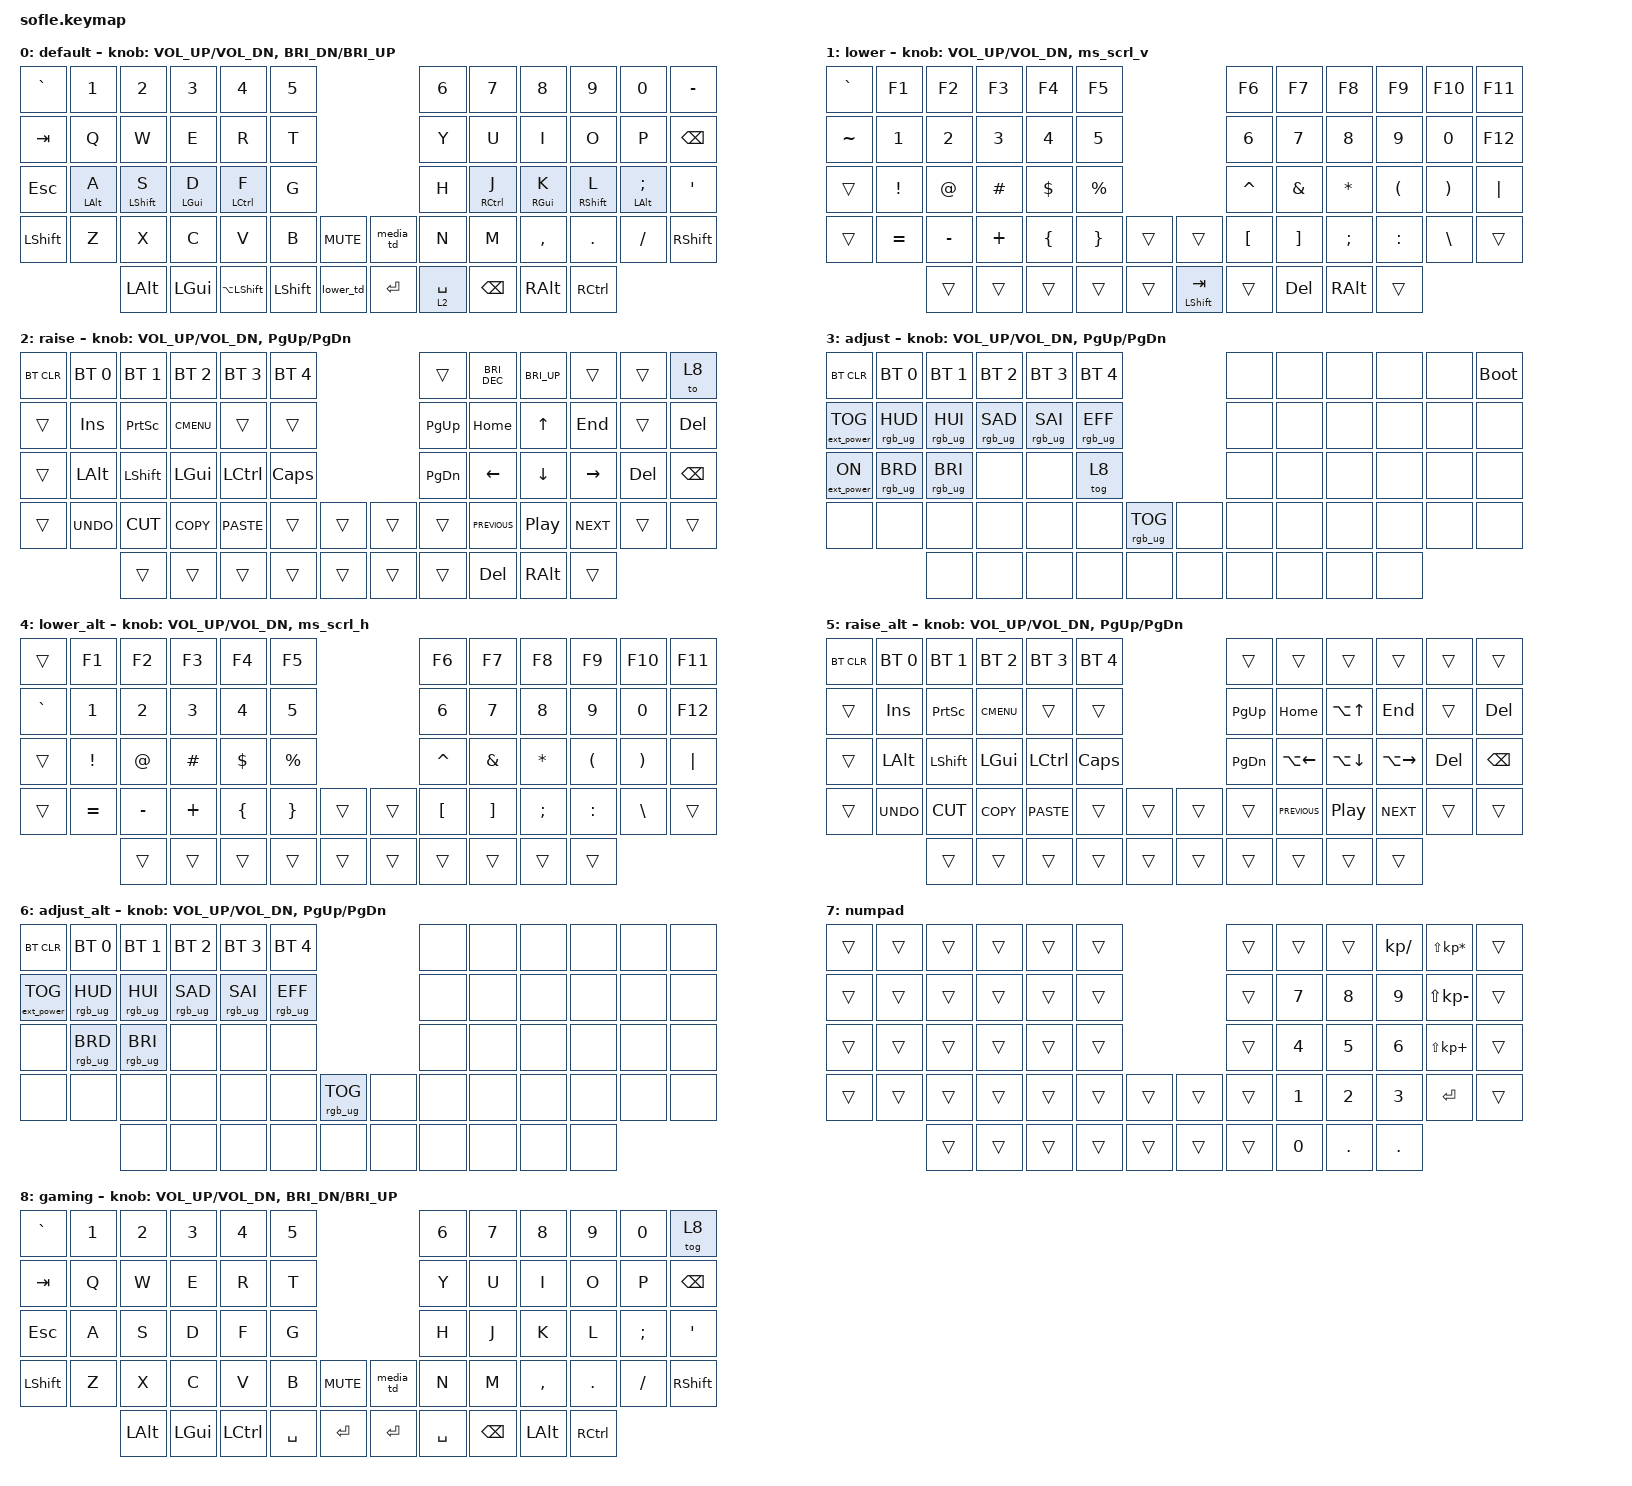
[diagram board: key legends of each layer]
/*
 * Copyright (c) 2020 The ZMK Contributors
 *
 * SPDX-License-Identifier: MIT
 */

#define ZMK_MOUSE_DEFAULT_SCRL_VAL 140

#include <behaviors.dtsi>
#include <dt-bindings/zmk/bt.h>
#include <dt-bindings/zmk/ext_power.h>
#include <dt-bindings/zmk/keys.h>
#include <dt-bindings/zmk/pointing.h>
#include <dt-bindings/zmk/rgb.h>

#define BASE 0
#define LOWER 1
#define RAISE 2
#define ADJUST 3

//&nice_view_spi { cs-gpios = <&pro_micro 4 GPIO_ACTIVE_HIGH>; };

/ {
    // Activate ADJUST layer by pressing raise and lower

    conditional_layers {
        compatible = "zmk,conditional-layers";

        adjust_layer {
            if-layers = <1 2>;
            then-layer = <3>;
        };

        adjust_layer_alt {
            if-layers = <4 5>;
            then-layer = <6>;
        };
    };

    behaviors {
        lower_td: lower_td {
            compatible = "zmk,behavior-tap-dance";
            label = "LOWER_TD";
            #binding-cells = <0>;
            bindings = <&mo 1>, <&mo 4>;

            tapping-term-ms = <500>;
        };

        mt_balanced: mt_balanced {
            compatible = "zmk,behavior-hold-tap";
            label = "MT_BALANCED";
            bindings = <&kp>, <&kp>;

            #binding-cells = <2>;
            tapping-term-ms = <200>;
            flavor = "balanced";
            hold-while-undecided;
        };

        raise_td: raise_td {
            compatible = "zmk,behavior-tap-dance";
            label = "RAISE_TD";
            #binding-cells = <0>;
            bindings = <&lt_space 2 SPACE>, <&mo 5>, <&mo 7>;

            tapping-term-ms = <500>;
        };

        media_td: media_td {
            compatible = "zmk,behavior-tap-dance";
            label = "MEDIA_TD";
            #binding-cells = <0>;
            bindings = <&kp C_PLAY_PAUSE>, <&kp C_NEXT>, <&kp C_PREV>;

            tapping-term-ms = <500>;
        };

        ms_scrl_v: ms_scrl_v {
            compatible = "zmk,behavior-sensor-rotate";
            label = "MS_SCRL_V";
            #sensor-binding-cells = <0>;
            bindings = <&msc SCRL_UP>, <&msc SCRL_DOWN>;

            tap-ms = <100>;
        };

        ms_scrl_h: ms_scrl_h {
            compatible = "zmk,behavior-sensor-rotate";
            label = "MS_SCRL_H";
            #sensor-binding-cells = <0>;
            bindings = <&msc SCRL_LEFT>, <&msc SCRL_RIGHT>;

            tap-ms = <100>;
        };

        hrm_left: hrm_left {
            compatible = "zmk,behavior-hold-tap";
            label = "HRM_LEFT";
            bindings = <&kp>, <&kp>;

            #binding-cells = <2>;
            tapping-term-ms = <280>;
            quick-tap-ms = <175>;
            require-prior-idle-ms = <150>;
            flavor = "balanced";
            hold-trigger-key-positions = <6 7 8 9 10 11 23 22 21 20 19 18 30 31 32 33 34 35 49 48 47 46 45 44 43 55 56 57 58 59 54 53 52 51 50>;
            hold-trigger-on-release;
        };

        hrm_right: hrm_right {
            compatible = "zmk,behavior-hold-tap";
            label = "HRM_RIGHT";
            bindings = <&kp>, <&kp>;

            #binding-cells = <2>;
            tapping-term-ms = <280>;
            quick-tap-ms = <175>;
            require-prior-idle-ms = <150>;
            flavor = "balanced";
            hold-trigger-key-positions = <0 1 12 13 14 15 16 17 24 25 26 27 28 29 36 37 38 39 40 41 42 50 51 52 53 54 1 2 3 4 5 55 56 57 58 59>;
            hold-trigger-on-release;
        };

        lt_space: lt_space {
            compatible = "zmk,behavior-hold-tap";
            label = "LT_SPACE";
            bindings = <&mo>, <&kp>;

            #binding-cells = <2>;
            tapping-term-ms = <200>;
            flavor = "balanced";
            hold-while-undecided;
            quick-tap-ms = <175>;
            require-prior-idle-ms = <150>;
        };
    };

    combos {
        compatible = "zmk,combos";

        excl {
            bindings = <&kp EXCL>;
            key-positions = <13 25>;
            timeout-ms = <30>;
            require-prior-idle-ms = <50>;
        };

        at {
            bindings = <&kp AT_SIGN>;
            key-positions = <14 26>;
            timeout-ms = <30>;
            require-prior-idle-ms = <50>;
        };

        hash {
            bindings = <&kp HASH>;
            key-positions = <15 27>;
            timeout-ms = <30>;
            require-prior-idle-ms = <50>;
        };

        dollar {
            bindings = <&kp DOLLAR>;
            key-positions = <16 28>;
            timeout-ms = <30>;
            require-prior-idle-ms = <50>;
        };

        percent {
            bindings = <&kp PERCENT>;
            key-positions = <17 29>;
            timeout-ms = <30>;
            require-prior-idle-ms = <50>;
        };

        caret {
            bindings = <&kp CARET>;
            key-positions = <18 30>;
            timeout-ms = <30>;
            require-prior-idle-ms = <50>;
        };

        plus {
            bindings = <&kp PLUS>;
            key-positions = <19 31>;
            timeout-ms = <30>;
            require-prior-idle-ms = <50>;
        };

        star {
            bindings = <&kp STAR>;
            key-positions = <20 32>;
            timeout-ms = <30>;
            require-prior-idle-ms = <50>;
        };

        ampersand {
            bindings = <&kp AMPERSAND>;
            key-positions = <21 33>;
            timeout-ms = <30>;
            require-prior-idle-ms = <50>;
        };

        lparen {
            bindings = <&hrm_right RG(RCTRL) LEFT_PARENTHESIS>;
            key-positions = <31 32>;
            timeout-ms = <18>;
            require-prior-idle-ms = <150>;
        };

        rparen {
            bindings = <&hrm_right RG(RSHIFT) RPAR>;
            key-positions = <32 33>;
            timeout-ms = <18>;
            require-prior-idle-ms = <150>;
        };

        underscore {
            bindings = <&kp UNDERSCORE>;
            key-positions = <30 44>;
            timeout-ms = <30>;
            require-prior-idle-ms = <50>;
        };

        minus {
            bindings = <&kp MINUS>;
            key-positions = <31 45>;
            timeout-ms = <30>;
            require-prior-idle-ms = <50>;
        };

        lbracket_brace {
            bindings = <&kp LEFT_BRACKET>;
            key-positions = <45 46>;
            timeout-ms = <18>;
            require-prior-idle-ms = <150>;
        };

        rbracket_brace {
            bindings = <&kp RIGHT_BRACKET>;
            key-positions = <46 47>;
            timeout-ms = <18>;
            require-prior-idle-ms = <150>;
        };

        slash {
            bindings = <&kp SLASH>;
            key-positions = <32 46>;
            timeout-ms = <30>;
            require-prior-idle-ms = <50>;
        };

        pipe {
            bindings = <&kp PIPE>;
            key-positions = <33 47>;
            timeout-ms = <30>;
            require-prior-idle-ms = <50>;
        };

        backslash {
            bindings = <&kp BACKSLASH>;
            key-positions = <34 48>;
            timeout-ms = <30>;
            require-prior-idle-ms = <50>;
        };

        equals {
            bindings = <&kp EQUAL>;
            key-positions = <28 40>;
            timeout-ms = <30>;
            require-prior-idle-ms = <50>;
        };

        tilde {
            bindings = <&kp TILDE>;
            key-positions = <29 41>;
            timeout-ms = <30>;
            require-prior-idle-ms = <50>;
        };

        grave {
            bindings = <&kp GRAVE>;
            key-positions = <26 38>;
            timeout-ms = <30>;
            require-prior-idle-ms = <50>;
        };

        tab {
            bindings = <&hrm_left TAB LS(LGUI)>;
            key-positions = <26 27>;
            timeout-ms = <18>;
            require-prior-idle-ms = <150>;
        };

        esc {
            bindings = <&kp ESCAPE>;
            key-positions = <14 15>;
            timeout-ms = <18>;
            require-prior-idle-ms = <150>;
        };

        copy {
            bindings = <&kp C_AC_COPY>;
            key-positions = <38 39>;
            timeout-ms = <18>;
            require-prior-idle-ms = <150>;
        };

        paste {
            bindings = <&kp C_AC_PASTE>;
            key-positions = <39 40>;
            timeout-ms = <18>;
            require-prior-idle-ms = <150>;
        };

        backspace {
            bindings = <&kp BACKSPACE>;
            key-positions = <20 21>;
            timeout-ms = <18>;
            require-prior-idle-ms = <150>;
        };

        delete {
            bindings = <&kp DELETE>;
            key-positions = <19 20>;
            timeout-ms = <18>;
            require-prior-idle-ms = <150>;
        };
    };

    keymap {
        compatible = "zmk,keymap";

        default_layer {
            display-name = "default";

            // ------------------------------------------------------------------------------------------------------------
            // |   `   |  1  |  2  |  3   |  4   |  5   |                   |  6   |  7    |  8    |  9   |   0   |       |
            // |  ESC  |  Q  |  W  |  E   |  R   |  T   |                   |  Y   |  U    |  I    |  O   |   P   | BKSPC |
            // |  TAB  |  A  |  S  |  D   |  F   |  G   |                   |  H   |  J    |  K    |  L   |   ;   |   '   |
            // | SHIFT |  Z  |  X  |  C   |  V   |  B   |  MUTE  |  |       |  N   |  M    |  ,    |  .   |   /   | SHIFT |
            //               | GUI | ALT  | CTRL | LOWER|  ENTER |  | SPACE | RAISE| CTRL  | ALT   | GUI  |

            bindings = <
&kp GRAVE  &kp N1                &kp N2                  &kp N3                &kp N4              &kp N5                               &kp N6             &kp N7              &kp N8                  &kp N9                    &kp N0                    &kp MINUS
&kp TAB    &kp Q                 &kp W                   &kp E                 &kp R               &kp T                                &kp Y              &kp U               &kp I                   &kp O                     &kp P                     &kp BSPC
&kp ESC    &hrm_left LEFT_ALT A  &hrm_left LEFT_SHIFT S  &hrm_left LEFT_GUI D  &hrm_left LCTRL F   &kp G                                &kp H              &hrm_right RCTRL J  &hrm_right RIGHT_GUI K  &hrm_right RIGHT_SHIFT L  &hrm_right LEFT_ALT SEMI  &kp SQT
&kp LSHFT  &kp Z                 &kp X                   &kp C                 &kp V               &kp B       &kp C_MUTE    &media_td  &kp N              &kp M               &kp COMMA               &kp DOT                   &kp FSLH                  &kp RSHFT
                                 &kp LALT                &kp LGUI              &kp LA(LEFT_SHIFT)  &kp LSHIFT  &lower_td     &kp ENTER  &lt_space 2 SPACE  &kp BACKSPACE       &kp RALT                &kp RCTRL
            >;

            sensor-bindings =
                <&inc_dec_kp C_VOL_UP C_VOL_DN>,
                <&inc_dec_kp C_BRI_DN C_BRI_UP>;
        };

        lower_layer {
            display-name = "lower";

            // ------------------------------------------------------------------------------------------------------------
            // |       |  F1 |  F2 |  F3  |  F4  |  F5  |                   |  F6  |  F7   |  F8   |  F9  |  F10  |  F11  |
            // |   `   |  1  |  2  |  3   |  4   |  5   |                   |  6   |  7    |  8    |  9   |   0   |  F12  |
            // |       |  !  |  @  |  #   |  $   |  %   |                   |  ^   |  &    |  *    |  (   |   )   |   |   |
            // |       |  =  |  -  |  +   |  {   |  }   |        |  |       |  [   |  ]    |  ;    |  :   |   \   |       |
            //               |     |      |      |      |        |  |       |      |       |       |      |

            bindings = <
&kp GRAVE  &kp F1     &kp F2     &kp F3    &kp F4    &kp F5                                            &kp F6     &kp F7      &kp F8     &kp F9     &kp F10   &kp F11
&kp TILDE  &kp N1     &kp N2     &kp N3    &kp N4    &kp N5                                            &kp N6     &kp N7      &kp N8     &kp N9     &kp N0    &kp F12
&trans     &kp EXCL   &kp AT     &kp HASH  &kp DLLR  &kp PRCNT                                         &kp CARET  &kp AMPS    &kp ASTRK  &kp LPAR   &kp RPAR  &kp PIPE
&trans     &kp EQUAL  &kp MINUS  &kp PLUS  &kp LBRC  &kp RBRC   &trans    &trans                       &kp LBKT   &kp RBKT    &kp SEMI   &kp COLON  &kp BSLH  &trans
                      &trans     &trans    &trans    &trans     &trans    &mt_balanced LEFT_SHIFT TAB  &trans     &kp DELETE  &kp RALT   &trans
            >;

            sensor-bindings = <&inc_dec_kp C_VOL_UP C_VOL_DN>, <&ms_scrl_v>;
        };

        raise_layer {
            display-name = "raise";

            // ------------------------------------------------------------------------------------------------------------
            // | BTCLR | BT1  | BT2  |  BT3  |  BT4  |  BT5 |                |      |      |       |      |       |       |
            // |       | INS  | PSCR | GUI   |       |      |                | PGUP |      |   ^   |      |       |       |
            // |       | ALT  | CTRL | SHIFT |       | CAPS |                | PGDN |   <- |   v   |  ->  |  DEL  | BKSPC |
            // |       | UNDO | CUT  | COPY  | PASTE |      |      |  |      |      |      |       |      |       |       |
            //                |      |       |       |      |      |  |      |      |      |       |      |

            bindings = <
&bt BT_CLR  &bt BT_SEL 0  &bt BT_SEL 1    &bt BT_SEL 2  &bt BT_SEL 3      &bt BT_SEL 4                    &trans     &kp C_BRI_DEC   &kp C_BRI_UP      &trans      &trans   &to 8
&trans      &kp INS       &kp PSCRN       &kp K_CMENU   &trans            &trans                          &kp PG_UP  &kp HOME        &kp UP            &kp END     &trans   &kp DELETE
&trans      &kp LALT      &kp LEFT_SHIFT  &kp LEFT_GUI  &kp LEFT_CONTROL  &kp CLCK                        &kp PG_DN  &kp LEFT        &kp DOWN          &kp RIGHT   &kp DEL  &kp BSPC
&trans      &kp K_UNDO    &kp K_CUT       &kp K_COPY    &kp K_PASTE       &trans        &trans    &trans  &trans     &kp C_PREVIOUS  &kp C_PLAY_PAUSE  &kp C_NEXT  &trans   &trans
                          &trans          &trans        &trans            &trans        &trans    &trans  &trans     &kp DEL         &kp RALT          &trans
            >;

            sensor-bindings = <
                &inc_dec_kp C_VOL_UP C_VOL_DN 
                &inc_dec_kp PG_UP PG_DN
            >;
        };

        adjust_layer {
            // ----------------------------------------------------------------------------------------------------------------------------
            // | BTCLR  |  BT1    |  BT2    |   BT3   |   BT4   |   BT5   |                  |      |      |       |      |       |       |
            // | EXTPWR | RGB_HUD | RGB_HUI | RGB_SAD | RGB_SAI | RGB_EFF |                  |      |      |       |      |       |       |
            // |        | RGB_BRD | RGB_BRI |         |         |         |                  |      |      |       |      |       |       |
            // |        |         |         |         |         |         | RGB_TOG | |      |      |      |       |      |       |       |
            //                    |         |         |         |         |         | |      |      |      |       |      |

            display-name = "adjust";
            bindings = <
&bt BT_CLR         &bt BT_SEL 0     &bt BT_SEL 1     &bt BT_SEL 2     &bt BT_SEL 3     &bt BT_SEL 4                               &none  &none  &none  &none  &none  &bootloader
&ext_power EP_TOG  &rgb_ug RGB_HUD  &rgb_ug RGB_HUI  &rgb_ug RGB_SAD  &rgb_ug RGB_SAI  &rgb_ug RGB_EFF                            &none  &none  &none  &none  &none  &none
&ext_power EP_ON   &rgb_ug RGB_BRD  &rgb_ug RGB_BRI  &none            &none            &tog 8                                     &none  &none  &none  &none  &none  &none
&none              &none            &none            &none            &none            &none            &rgb_ug RGB_TOG    &none  &none  &none  &none  &none  &none  &none
                                    &none            &none            &none            &none            &none              &none  &none  &none  &none  &none
            >;

            sensor-bindings = <
                &inc_dec_kp C_VOL_UP C_VOL_DN 
                &inc_dec_kp PG_UP PG_DN
            >;
        };

        LOWER_LAYER_ALT {
            display-name = "lower_alt";
            bindings = <
&trans     &kp F1     &kp F2     &kp F3    &kp F4    &kp F5                       &kp F6     &kp F7    &kp F8     &kp F9     &kp F10   &kp F11
&kp GRAVE  &kp N1     &kp N2     &kp N3    &kp N4    &kp N5                       &kp N6     &kp N7    &kp N8     &kp N9     &kp N0    &kp F12
&trans     &kp EXCL   &kp AT     &kp HASH  &kp DLLR  &kp PRCNT                    &kp CARET  &kp AMPS  &kp ASTRK  &kp LPAR   &kp RPAR  &kp PIPE
&trans     &kp EQUAL  &kp MINUS  &kp PLUS  &kp LBRC  &kp RBRC   &trans    &trans  &kp LBKT   &kp RBKT  &kp SEMI   &kp COLON  &kp BSLH  &trans
                      &trans     &trans    &trans    &trans     &trans    &trans  &trans     &trans    &trans     &trans
            >;

            sensor-bindings = <&inc_dec_kp C_VOL_UP C_VOL_DN>, <&ms_scrl_h>;
        };

        RAISE_LAYER_ALT {
            display-name = "raise_alt";
            bindings = <
&bt BT_CLR  &bt BT_SEL 0  &bt BT_SEL 1    &bt BT_SEL 2  &bt BT_SEL 3      &bt BT_SEL 4                    &trans     &trans          &trans            &trans         &trans   &trans
&trans      &kp INS       &kp PSCRN       &kp K_CMENU   &trans            &trans                          &kp PG_UP  &kp HOME        &kp LA(UP)        &kp END        &trans   &kp DELETE
&trans      &kp LALT      &kp LEFT_SHIFT  &kp LEFT_GUI  &kp LEFT_CONTROL  &kp CLCK                        &kp PG_DN  &kp LA(LEFT)    &kp LA(DOWN)      &kp LA(RIGHT)  &kp DEL  &kp BSPC
&trans      &kp K_UNDO    &kp K_CUT       &kp K_COPY    &kp K_PASTE       &trans        &trans    &trans  &trans     &kp C_PREVIOUS  &kp C_PLAY_PAUSE  &kp C_NEXT     &trans   &trans
                          &trans          &trans        &trans            &trans        &trans    &trans  &trans     &trans          &trans            &trans
            >;

            sensor-bindings =
                <&inc_dec_kp C_VOL_UP C_VOL_DN>,
                <&inc_dec_kp PG_UP PG_DN>;
        };

        ADJUST_LAYER_ALT {
            display-name = "adjust_alt";
            bindings = <
&bt BT_CLR         &bt BT_SEL 0     &bt BT_SEL 1     &bt BT_SEL 2     &bt BT_SEL 3     &bt BT_SEL 4                               &none  &none  &none  &none  &none  &none
&ext_power EP_TOG  &rgb_ug RGB_HUD  &rgb_ug RGB_HUI  &rgb_ug RGB_SAD  &rgb_ug RGB_SAI  &rgb_ug RGB_EFF                            &none  &none  &none  &none  &none  &none
&none              &rgb_ug RGB_BRD  &rgb_ug RGB_BRI  &none            &none            &none                                      &none  &none  &none  &none  &none  &none
&none              &none            &none            &none            &none            &none            &rgb_ug RGB_TOG    &none  &none  &none  &none  &none  &none  &none
                                    &none            &none            &none            &none            &none              &none  &none  &none  &none  &none
            >;

            sensor-bindings =
                <&inc_dec_kp C_VOL_UP C_VOL_DN>,
                <&inc_dec_kp PG_UP PG_DN>;
        };

        NUMPAD {
            bindings = <
&trans  &trans  &trans  &trans  &trans  &trans                    &trans  &trans  &trans   &kp KP_DIVIDE  &kp LS(KP_MULTIPLY)  &trans
&trans  &trans  &trans  &trans  &trans  &trans                    &trans  &kp N7  &kp N8   &kp N9         &kp LS(KP_MINUS)     &trans
&trans  &trans  &trans  &trans  &trans  &trans                    &trans  &kp N4  &kp N5   &kp N6         &kp LS(KP_PLUS)      &trans
&trans  &trans  &trans  &trans  &trans  &trans  &trans    &trans  &trans  &kp N1  &kp N2   &kp N3         &kp RET              &trans
                &trans  &trans  &trans  &trans  &trans    &trans  &trans  &kp N0  &kp DOT  &kp DOT
            >;

            label = "numpad";
        };

        GAMING {
            display-name = "gaming";
            bindings = <
&kp GRAVE  &kp N1  &kp N2    &kp N3    &kp N4     &kp N5                              &kp N6     &kp N7         &kp N8     &kp N9     &kp N0    &tog 8
&kp TAB    &kp Q   &kp W     &kp E     &kp R      &kp T                               &kp Y      &kp U          &kp I      &kp O      &kp P     &kp BSPC
&kp ESC    &kp A   &kp S     &kp D     &kp F      &kp G                               &kp H      &kp J          &kp K      &kp L      &kp SEMI  &kp SQT
&kp LSHFT  &kp Z   &kp X     &kp C     &kp V      &kp B      &kp C_MUTE    &media_td  &kp N      &kp M          &kp COMMA  &kp DOT    &kp FSLH  &kp RSHFT
                   &kp LALT  &kp LGUI  &kp LCTRL  &kp SPACE  &kp ENTER     &kp ENTER  &kp SPACE  &kp BACKSPACE  &kp LALT   &kp RCTRL
            >;

            sensor-bindings =
                <&inc_dec_kp C_VOL_UP C_VOL_DN>,
                <&inc_dec_kp C_BRI_DN C_BRI_UP>;
        };
    };
};
